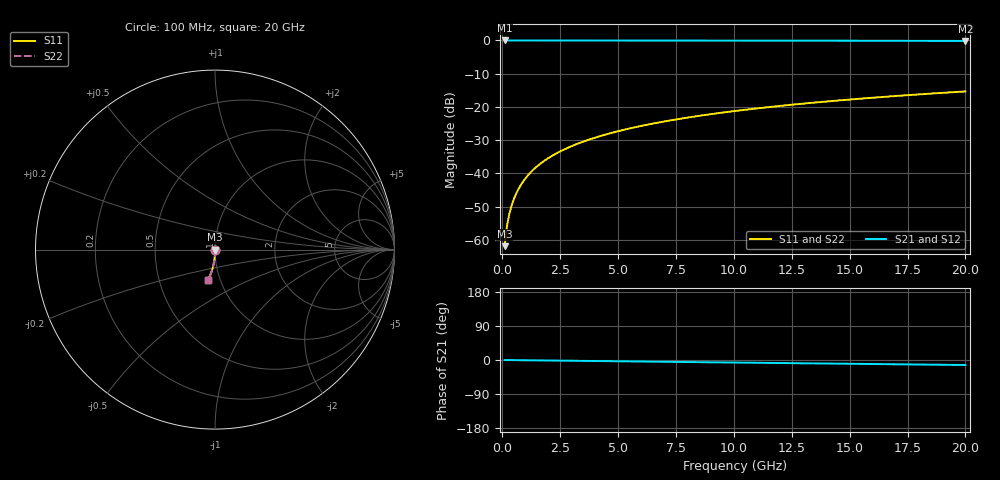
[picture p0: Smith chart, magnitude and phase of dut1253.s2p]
! Touchstone file exported from HFSS 2026.1.0
!  File:  C:/ffzhzh/LocalFiles/Ansys_Project_Files/temp_train_TSV_1253_1783193764_55132.aedt
!  Generated:  03:37:15 AM Jul  5, 2026
!  Design:  TSV
!  Project:  temp_train_TSV_1253_1783193764_55132
! Variables:
!  h_bsmrdl = 2um
!  h_ox = 20um
!  h_rdl = 5um
!  h_sub = 96.7um
!  h_tmrdl = 5um
!  h_tsv = 96.7um
!  h_via = 3um
!  l_bsmrdl = 300um
!  l_sub = 428.48um
!  l_tmrdl = 200um
!  m_sub = 200um
!  pitch = 32.05um
!  r_tsv = 14.24um
!  s_tmrdl = 10um
!  w_bsmrdl = 18um
!  w_sub = 500um
!  w_tmrdl = 12um
!  x_tsv_center1 = 206um
!  x_tsv_center2 = 524um
!  x_tsv_center3 = 736um
!  x_tsv_center4 = 1054um
!  x_tsv_center5 = 1266um
!  x_tsv_center6 = 1584um
# GHz S MA R 50.000000
! Terminal data exported
! Port[1] = TSV1_1_T1
! Port[2] = TSV1_1_T2
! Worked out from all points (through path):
!   200 points, 100 MHz to 20 GHz, reference 50 ohm
!   highest |S21| = 0.00 dB at 100 MHz (marker M1); lowest = -0.1 dB at 20 GHz (marker M2)
!   group delay of S21, straight-line fit = 1.84 ps
!   lowest |S11| = -61.9 dB at 100 MHz (marker M3), VSWR 1.00, Z = 50 - j0.0797 ohm
!   |S11| at or under -10 dB: start of sweep to end of sweep
!   |S22| runs from -61.9 to -15.3 dB; largest |S21 - S12| = 8.9e-15
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0.1  0.0008038 -82.3  0.9999 -0.1  0.9999 -0.1  0.0008038 -82.3
! Gamma 0 0 0 0
! Port Impedance 50 0 50 0
0.2  0.001607 -85.3  0.9999 -0.1  0.9999 -0.1  0.001607 -85.3
0.3  0.002426 -86.1  0.9998 -0.2  0.9998 -0.2  0.002426 -86.1
0.4  0.00326 -86.4  0.9998 -0.3  0.9998 -0.3  0.00326 -86.4
0.5  0.004106 -86.7  0.9997 -0.3  0.9997 -0.3  0.004106 -86.7
0.7  0.005821 -87.2  0.9996 -0.5  0.9996 -0.5  0.005821 -87.2
0.8  0.006685 -87.4  0.9996 -0.6  0.9996 -0.6  0.006685 -87.4
1  0.008418 -87.9  0.9995 -0.7  0.9995 -0.7  0.008418 -87.9
1.2  0.01015 -88.3  0.9995 -0.8  0.9995 -0.8  0.01015 -88.3
1.4  0.01189 -88.6  0.9994 -1.0  0.9994 -1.0  0.01189 -88.6
1.7  0.01449 -89.1  0.9994 -1.2  0.9994 -1.2  0.01449 -89.1
2  0.01709 -89.5  0.9993 -1.4  0.9993 -1.4  0.01709 -89.5
2.7  0.02316 -90.3  0.9991 -1.8  0.9991 -1.8  0.02316 -90.3
3.5  0.03009 -91.0  0.9988 -2.4  0.9988 -2.4  0.03009 -91.0
4.2  0.03617 -91.6  0.9986 -2.8  0.9986 -2.8  0.03617 -91.6
5  0.04311 -92.2  0.9982 -3.4  0.9982 -3.4  0.04311 -92.2
6.8  0.05874 -93.6  0.9972 -4.6  0.9972 -4.6  0.05874 -93.6
8.3  0.07173 -94.6  0.9963 -5.6  0.9963 -5.6  0.07173 -94.6
10.1  0.08728 -95.9  0.9949 -6.8  0.9949 -6.8  0.08728 -95.9
13.4  0.1156 -98.2  0.9918 -8.9  0.9918 -8.9  0.1156 -98.2
16.7  0.1436 -100.4  0.988 -11.1  0.988 -11.1  0.1436 -100.4
20  0.1711 -102.6  0.9834 -13.2  0.9834 -13.2  0.1711 -102.6
